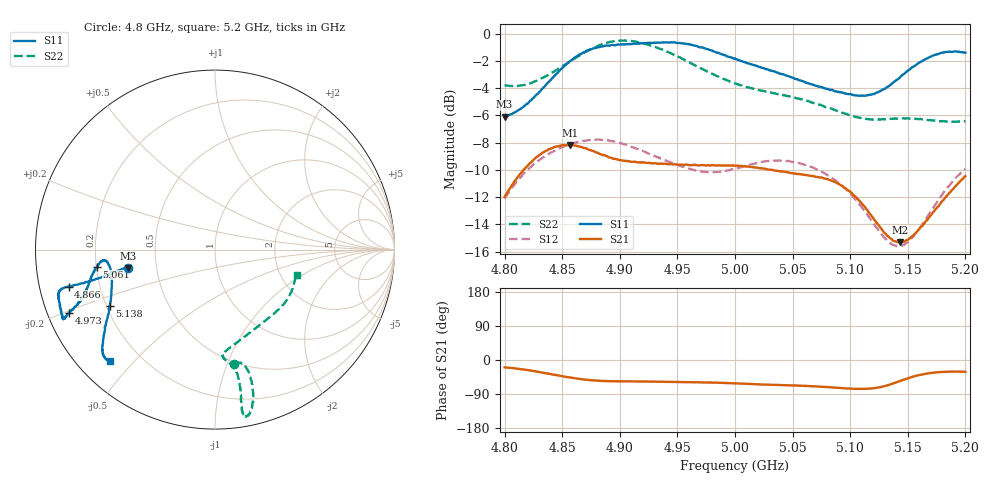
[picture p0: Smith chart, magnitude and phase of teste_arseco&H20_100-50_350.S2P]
! Network Analyzer HP8722D
! Hewlett-Packard
! Data name: Linha & Wilkinson
! Saver's name: Rodrigo Anjos
! Comments: Teste da utilização de aquisição
! continua pelo VNA HP8722D
! Time and date: 6/5/2025 15:29
!  Frequency  S11  S21  S12  S22
# HZ  S  MA R 50
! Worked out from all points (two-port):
!   401 points, 4.8 GHz to 5.2 GHz, reference 50 ohm
!   highest |S21| = -8.16 dB at 4.857 GHz (marker M1); lowest = -15.3 dB at 5.143 GHz (marker M2)
!   |S21| within 3 dB of the highest: 4.806 GHz to 5.093 GHz (286.3 MHz wide, 5.79 % of centre); 5.191989 GHz to end of sweep
!   lowest |S11| = -6.1 dB at 4.8 GHz (marker M3), VSWR 2.97, Z = 17 - j4.62 ohm
!   |S11| at or under -10 dB: nowhere
!   |S22| runs from -6.5 to -0.5 dB; largest |S21 - S12| = 0.62
!   S11 on the Smith chart (normalised r, x): 4.8 GHz: 0.34, -0.09; 4.866 GHz: 0.09, -0.12; 4.973 GHz: 0.06, -0.21; 5.061 GHz: 0.20, -0.07; 5.138 GHz: 0.21, -0.24; 5.2 GHz: 0.09, -0.43
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4.8e9  0.4963 -168.1  0.2517 -19.4  0.2481 -140.8  0.6474 -80.4
4.828e9  0.5997 -167.0  0.3533 -30.6  0.3379 -144.7  0.6738 -75.4
4.857e9  0.7953 -165.8  0.3909 -46.2  0.3929 -150.1  0.7922 -74.7
4.866e9  0.8415 -165.8  0.3845 -50.3  0.4024 -151.7  0.8372 -75.2
4.867e9  0.8475 -165.8  0.3838 -50.7  0.403 -151.9  0.8425 -75.4
4.883e9  0.8951 -164.9  0.3614 -54.9  0.4085 -154.7  0.9099 -77.1
4.9e9  0.9134 -162.5  0.3437 -56.3  0.3965 -156.4  0.9427 -79.1
4.934e9  0.9274 -156.2  0.3329 -57.5  0.3518 -155.6  0.8834 -80.4
4.953e9  0.9233 -155.4  0.3309 -58.0  0.326 -152.0  0.815 -79.8
4.973e9  0.8875 -156.6  0.329 -59.4  0.3109 -145.8  0.7371 -79.7
5e9  0.8132 -158.9  0.3275 -61.7  0.3198 -137.2  0.6568 -81.2
5.036e9  0.7212 -165.5  0.3141 -65.9  0.3417 -134.3  0.6027 -85.6
5.061e9  0.6645 -171.8  0.3032 -68.4  0.33 -136.2  0.5705 -84.0
5.067e9  0.6523 -173.0  0.3008 -69.1  0.3235 -136.7  0.5589 -82.5
5.1e9  0.5997 -172.3  0.2628 -75.4  0.259 -138.7  0.5025 -67.2
5.116e9  0.5966 -165.5  0.2213 -75.9  0.2131 -135.5  0.4851 -55.9
5.134e9  0.6443 -154.2  0.1784 -65.4  0.1707 -120.7  0.4864 -43.3
5.138e9  0.6664 -151.9  0.1733 -61.2  0.1672 -115.6  0.4873 -40.8
5.143e9  0.6902 -149.0  0.1713 -55.8  0.1661 -109.2  0.4891 -38.0
5.154e9  0.7548 -144.4  0.1805 -44.4  0.1788 -94.9  0.4886 -32.3
5.173e9  0.8358 -138.7  0.2233 -33.3  0.2328 -80.8  0.4805 -24.2
5.2e9  0.8526 -133.5  0.2999 -31.2  0.3191 -76.8  0.4778 -17.5
